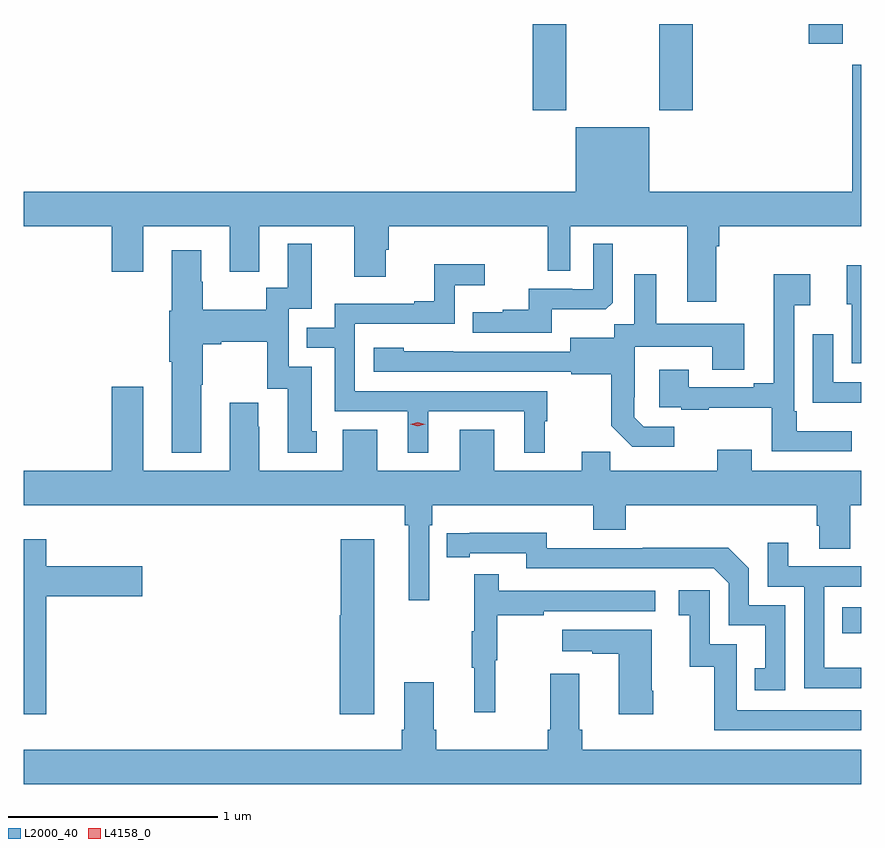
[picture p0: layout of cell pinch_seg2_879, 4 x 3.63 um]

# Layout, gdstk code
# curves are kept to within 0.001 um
import gdstk
lib = gdstk.Library(unit=1e-6, precision=1e-09)
def R(c, l, rs):  # rectangles x0, y0, x1, y1
    for r in rs: c.add(gdstk.rectangle(r[:2], r[2:], *l))
def P(c, l, *ps):  # polygons
    for p in ps: c.add(gdstk.Polygon(p, *l))
L2000_40 = (2000, 40)
L4158_0 = (4158, 0)

pinch_seg2_879 = lib.new_cell('pinch_seg2_879')
R(pinch_seg2_879, L2000_40, [(426.151,617.721,426.243,617.844), (424.673,620.217,424.833,620.629), (425.278,620.217,425.438,620.629), (425.993,620.535,426.153,620.629)])
P(pinch_seg2_879, L2000_40, [(422.243,619.664),(422.663,619.664),(422.663,619.446),(422.815,619.446),(422.815,619.664),(423.227,619.664),(423.227,619.446),(423.367,619.446),(423.367,619.664),(423.821,619.664),(423.821,619.422),(423.973,619.422),(423.973,619.551),(423.986,619.551),(423.986,619.664),(424.746,619.664),(424.746,619.45),(424.854,619.45),(424.854,619.664),(425.411,619.664),(425.411,619.302),(425.551,619.302),(425.551,619.568),(425.564,619.568),(425.564,619.664),(426.243,619.664),(426.243,620.434),(426.2,620.434),(426.2,619.828),(425.23,619.828),(425.23,620.137),(424.88,620.137),(424.88,619.828),(422.243,619.828)],
  [(423.091,618.907),(423.099,618.907),(423.099,619.1),(423.187,619.1),(423.187,619.112),(423.407,619.112),(423.407,618.888),(423.503,618.888),(423.503,618.582),(423.643,618.582),(423.643,618.684),(423.619,618.684),(423.619,618.993),(423.51,618.993),(423.51,619.269),(423.619,619.269),(423.619,619.579),(423.503,619.579),(423.503,619.37),(423.402,619.37),(423.402,619.264),(423.099,619.264),(423.099,619.398),(423.091,619.398),(423.091,619.549),(422.951,619.549),(422.951,619.26),(422.939,619.26),(422.939,619.016),(422.951,619.016),(422.951,618.581),(423.091,618.581)],
  [(424.765,619.268),(425.023,619.268),(425.055,619.299),(425.055,619.579),(424.962,619.579),(424.962,619.362),(424.862,619.362),(424.862,619.365),(424.655,619.365),(424.655,619.264),(424.531,619.264),(424.531,619.252),(424.387,619.252),(424.387,619.155),(424.765,619.155)],
  [(424.174,618.78),(424.634,618.78),(424.634,618.581),(424.732,618.581),(424.732,618.732),(424.744,618.732),(424.744,618.876),(423.825,618.876),(423.825,619.197),(424.302,619.197),(424.302,619.382),(424.444,619.382),(424.444,619.481),(424.204,619.481),(424.204,619.306),(424.109,619.306),(424.109,619.293),(423.729,619.293),(423.729,619.179),(423.595,619.179),(423.595,619.083),(423.729,619.083),(423.729,618.78),(424.076,618.78),(424.076,618.581),(424.174,618.581)],
  [(426.243,619.478),(426.173,619.478),(426.173,619.29),(426.198,619.29),(426.198,619.008),(426.243,619.008)],
  [(425.35,618.705),(425.205,618.705),(425.158,618.752),(425.158,618.847),(425.16,618.847),(425.16,619.088),(425.531,619.088),(425.531,618.979),(425.683,618.979),(425.683,619.198),(425.263,619.198),(425.263,619.435),(425.159,619.435),(425.159,619.196),(425.064,619.196),(425.064,619.132),(424.853,619.132),(424.853,619.065),(424.059,619.066),(424.059,619.084),(423.915,619.084),(423.915,618.969),(424.857,618.969),(424.857,618.957),(425.049,618.957),(425.049,618.711),(425.149,618.611),(425.35,618.611)],
  [(426.196,618.685),(425.935,618.685),(425.935,618.781),(425.922,618.781),(425.922,619.286),(425.998,619.286),(425.998,619.435),(425.825,619.435),(425.825,618.913),(425.729,618.913),(425.729,618.894),(425.419,618.894),(425.419,618.979),(425.279,618.979),(425.279,618.798),(425.383,618.798),(425.383,618.786),(425.515,618.786),(425.515,618.797),(425.814,618.797),(425.814,618.588),(426.196,618.588)],
  [(426.243,618.918),(426.108,618.918),(426.108,619.147),(426.012,619.147),(426.012,618.821),(426.243,618.821)],
  [(425.045,618.587),(424.907,618.587),(424.907,618.496),(424.489,618.496),(424.489,618.691),(424.325,618.691),(424.325,618.496),(423.931,618.496),(423.931,618.691),(423.767,618.691),(423.767,618.496),(423.367,618.496),(423.367,618.707),(423.364,618.707),(423.364,618.82),(423.227,618.82),(423.227,618.496),(422.815,618.496),(422.815,618.898),(422.663,618.898),(422.663,618.496),(422.243,618.496),(422.243,618.332),(424.063,618.332),(424.063,618.236),(424.082,618.236),(424.082,617.877),(424.179,617.877),(424.179,618.236),(424.193,618.236),(424.193,618.332),(424.964,618.332),(424.964,618.215),(425.117,618.215),(425.117,618.332),(426.029,618.332),(426.029,618.234),(426.041,618.234),(426.041,618.124),(426.189,618.124),(426.189,618.332),(426.243,618.332),(426.243,618.496),(425.719,618.496),(425.719,618.595),(425.555,618.595),(425.555,618.496),(425.045,618.496)],
  [(425.88,617.853),(425.706,617.853),(425.706,618.03),(425.608,618.128),(425.2,618.128),(425.2,618.126),(424.74,618.126),(424.74,618.199),(424.264,618.198),(424.264,618.082),(424.372,618.082),(424.372,618.102),(424.644,618.102),(424.644,618.03),(425.538,618.03),(425.61,617.958),(425.61,617.757),(425.783,617.757),(425.783,617.553),(425.734,617.553),(425.734,617.448),(425.88,617.448)],
  [(422.351,617.897),(422.809,617.897),(422.809,618.039),(422.351,618.039),(422.351,618.169),(422.243,618.169),(422.243,617.334),(422.351,617.334)],
  [(423.916,618.169),(423.758,618.169),(423.758,617.805),(423.752,617.805),(423.752,617.334),(423.916,617.334)],
  [(426.243,617.554),(426.066,617.554),(426.066,617.943),(426.243,617.943),(426.243,618.039),(425.893,618.039),(425.893,618.151),(425.796,618.151),(425.796,617.943),(425.97,617.943),(425.97,617.457),(426.243,617.457)],
  [(424.496,617.592),(424.504,617.592),(424.504,617.806),(424.727,617.806),(424.727,617.826),(425.26,617.826),(425.26,617.922),(424.511,617.922),(424.511,618.001),(424.394,618.001),(424.394,617.729),(424.383,617.729),(424.383,617.555),(424.394,617.555),(424.394,617.343),(424.496,617.343)],
  [(426.243,617.352),(425.649,617.352),(425.649,617.667),(425.52,617.667),(425.52,617.926),(425.37,617.926),(425.37,617.805),(425.423,617.805),(425.423,617.559),(425.541,617.559),(425.541,617.256),(426.243,617.256)],
  [(425.25,617.446),(425.242,617.446),(425.242,617.737),(424.815,617.737),(424.815,617.633),(424.958,617.633),(424.958,617.623),(425.084,617.623),(425.084,617.334),(425.25,617.334)],
  [(426.243,617.164),(424.91,617.164),(424.91,617.26),(424.897,617.26),(424.897,617.527),(424.757,617.527),(424.757,617.26),(424.745,617.26),(424.745,617.164),(424.214,617.164),(424.214,617.26),(424.201,617.26),(424.201,617.485),(424.061,617.485),(424.061,617.26),(424.049,617.26),(424.049,617.164),(422.243,617.164),(422.243,617),(426.243,617)])
P(pinch_seg2_879, L4158_0, [(424.125,618.708),(424.089,618.717),(424.089,618.717),(424.089,618.717),(424.125,618.728),(424.161,618.719),(424.161,618.718),(424.161,618.718)])

lib.write_gds('pinch_seg2_879.gds')
